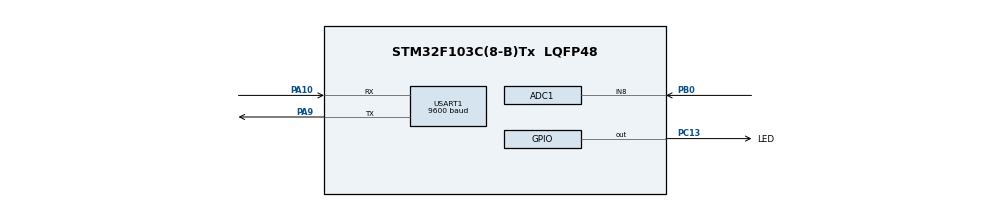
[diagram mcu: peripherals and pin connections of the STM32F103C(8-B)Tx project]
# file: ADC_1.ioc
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ADC1.Channel-3\#ChannelRegularConversion=ADC_CHANNEL_8
ADC1.NbrOfConversionFlag=1
ADC1.Rank-3\#ChannelRegularConversion=1
ADC1.SamplingTime-3\#ChannelRegularConversion=ADC_SAMPLETIME_1CYCLE_5
ADC1.master=1
Mcu.Family=STM32F1
Mcu.Name=STM32F103C(8-B)Tx
Mcu.Package=LQFP48
NVIC.PriorityGroup=NVIC_PRIORITYGROUP_4
PA10.Mode=Asynchronous
PA10.Signal=USART1_RX
PA13.Mode=Serial_Wire
PA13.Signal=SYS_JTMS-SWDIO
PA14.Mode=Serial_Wire
PA14.Signal=SYS_JTCK-SWCLK
PA9.Mode=Asynchronous
PA9.Signal=USART1_TX
PB0.Signal=ADCx_IN8
PC13-TAMPER-RTC.GPIO_Label=LED
PC13-TAMPER-RTC.Signal=GPIO_Output
PD0-OSC_IN.Mode=HSE-External-Oscillator
PD0-OSC_IN.Signal=RCC_OSC_IN
PD1-OSC_OUT.Mode=HSE-External-Oscillator
PD1-OSC_OUT.Signal=RCC_OSC_OUT
ProjectManager.HeapSize=0x200
ProjectManager.StackSize=0x400
ProjectManager.TargetToolchain=STM32CubeIDE
RCC.APB1Freq_Value=8000000
RCC.APB2Freq_Value=8000000
SH.ADCx_IN8.0=ADC1_IN8,IN8
USART1.BaudRate=9600
USART1.VirtualMode=VM_ASYNC
board=custom

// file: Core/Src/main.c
/* USER CODE BEGIN Header */
/**
  ******************************************************************************
  * @file           : main.c
  * @brief          : Main program body
  ******************************************************************************
  * @attention
  *
  * Copyright (c) 2023 STMicroelectronics.
  * All rights reserved.
  *
  * This software is licensed under terms that can be found in the LICENSE file
  * in the root directory of this software component.
  * If no LICENSE file comes with this software, it is provided AS-IS.
  *
  ******************************************************************************
  */
/* USER CODE END Header */
#include "main.h"

ADC_HandleTypeDef hadc1;

UART_HandleTypeDef huart1;

void SystemClock_Config(void);
static void MX_GPIO_Init(void);
static void MX_ADC1_Init(void);
static void MX_USART1_UART_Init(void);
/* USER CODE BEGIN PFP */
void empty_message(uint8_t array[], uint8_t size);
/* USER CODE END PFP */

int main(void)
{
  /* USER CODE BEGIN 1 */
	uint8_t welcome[] = "ADC program starting on PB0\r\n";
	uint16_t adcReading;
	uint8_t displayMessage[32];
	//uint8_t *pMessage = &displayMessage;

  /* USER CODE END 1 */

  /* MCU Configuration--------------------------------------------------------*/

  /* Reset of all peripherals, Initializes the Flash interface and the Systick. */
  HAL_Init();

  /* Configure the system clock */
  SystemClock_Config();

  /* Initialize all configured peripherals */
  MX_GPIO_Init();
  MX_ADC1_Init();
  MX_USART1_UART_Init();
  /* USER CODE BEGIN 2 */

  HAL_UART_Transmit(&huart1, welcome, sizeof(welcome), 100);

  /* USER CODE END 2 */

  /* Infinite loop */
  /* USER CODE BEGIN WHILE */
  while (1)
  {
	  HAL_ADC_Start(&hadc1);
	  HAL_ADC_PollForConversion(&hadc1, 100);
	  adcReading = (uint16_t) HAL_ADC_GetValue(&hadc1);
	  empty_message(displayMessage, sizeof(displayMessage));
	  sprintf(displayMessage,"%d\r\n", adcReading);
	  HAL_UART_Transmit(&huart1, (uint8_t *) displayMessage, sizeof(displayMessage), 100);
	  HAL_Delay(1000);

    /* USER CODE END WHILE */

  }
}

void SystemClock_Config(void)
{
  RCC_OscInitTypeDef RCC_OscInitStruct = {0};
  RCC_ClkInitTypeDef RCC_ClkInitStruct = {0};
  RCC_PeriphCLKInitTypeDef PeriphClkInit = {0};

  /** Initializes the RCC Oscillators according to the specified parameters
  * in the RCC_OscInitTypeDef structure.
  */
  RCC_OscInitStruct.OscillatorType = RCC_OSCILLATORTYPE_HSI;
  RCC_OscInitStruct.HSIState = RCC_HSI_ON;
  RCC_OscInitStruct.HSICalibrationValue = RCC_HSICALIBRATION_DEFAULT;
  RCC_OscInitStruct.PLL.PLLState = RCC_PLL_NONE;
  if (HAL_RCC_OscConfig(&RCC_OscInitStruct) != HAL_OK)
  {
    Error_Handler();
  }

  /** Initializes the CPU, AHB and APB buses clocks
  */
  RCC_ClkInitStruct.ClockType = RCC_CLOCKTYPE_HCLK|RCC_CLOCKTYPE_SYSCLK
                              |RCC_CLOCKTYPE_PCLK1|RCC_CLOCKTYPE_PCLK2;
  RCC_ClkInitStruct.SYSCLKSource = RCC_SYSCLKSOURCE_HSI;
  RCC_ClkInitStruct.AHBCLKDivider = RCC_SYSCLK_DIV1;
  RCC_ClkInitStruct.APB1CLKDivider = RCC_HCLK_DIV1;
  RCC_ClkInitStruct.APB2CLKDivider = RCC_HCLK_DIV1;

  if (HAL_RCC_ClockConfig(&RCC_ClkInitStruct, FLASH_LATENCY_0) != HAL_OK)
  {
    Error_Handler();
  }
  PeriphClkInit.PeriphClockSelection = RCC_PERIPHCLK_ADC;
  PeriphClkInit.AdcClockSelection = RCC_ADCPCLK2_DIV2;
  if (HAL_RCCEx_PeriphCLKConfig(&PeriphClkInit) != HAL_OK)
  {
    Error_Handler();
  }
}

static void MX_ADC1_Init(void)
{

  ADC_ChannelConfTypeDef sConfig = {0};

  /** Common config
  */
  hadc1.Instance = ADC1;
  hadc1.Init.ScanConvMode = ADC_SCAN_DISABLE;
  hadc1.Init.ContinuousConvMode = DISABLE;
  hadc1.Init.DiscontinuousConvMode = DISABLE;
  hadc1.Init.ExternalTrigConv = ADC_SOFTWARE_START;
  hadc1.Init.DataAlign = ADC_DATAALIGN_RIGHT;
  hadc1.Init.NbrOfConversion = 1;
  if (HAL_ADC_Init(&hadc1) != HAL_OK)
  {
    Error_Handler();
  }

  /** Configure Regular Channel
  */
  sConfig.Channel = ADC_CHANNEL_8;
  sConfig.Rank = ADC_REGULAR_RANK_1;
  sConfig.SamplingTime = ADC_SAMPLETIME_1CYCLE_5;
  if (HAL_ADC_ConfigChannel(&hadc1, &sConfig) != HAL_OK)
  {
    Error_Handler();
  }

}

static void MX_USART1_UART_Init(void)
{

  huart1.Instance = USART1;
  huart1.Init.BaudRate = 9600;
  huart1.Init.WordLength = UART_WORDLENGTH_8B;
  huart1.Init.StopBits = UART_STOPBITS_1;
  huart1.Init.Parity = UART_PARITY_NONE;
  huart1.Init.Mode = UART_MODE_TX_RX;
  huart1.Init.HwFlowCtl = UART_HWCONTROL_NONE;
  huart1.Init.OverSampling = UART_OVERSAMPLING_16;
  if (HAL_UART_Init(&huart1) != HAL_OK)
  {
    Error_Handler();
  }

}

static void MX_GPIO_Init(void)
{
  GPIO_InitTypeDef GPIO_InitStruct = {0};

  /* GPIO Ports Clock Enable */
  __HAL_RCC_GPIOC_CLK_ENABLE();
  __HAL_RCC_GPIOD_CLK_ENABLE();
  __HAL_RCC_GPIOB_CLK_ENABLE();
  __HAL_RCC_GPIOA_CLK_ENABLE();

  /*Configure GPIO pin Output Level */
  HAL_GPIO_WritePin(LED_GPIO_Port, LED_Pin, GPIO_PIN_RESET);

  /*Configure GPIO pin : LED_Pin */
  GPIO_InitStruct.Pin = LED_Pin;
  GPIO_InitStruct.Mode = GPIO_MODE_OUTPUT_PP;
  GPIO_InitStruct.Pull = GPIO_NOPULL;
  GPIO_InitStruct.Speed = GPIO_SPEED_FREQ_LOW;
  HAL_GPIO_Init(LED_GPIO_Port, &GPIO_InitStruct);

}

/* USER CODE BEGIN 4 */
void empty_message(uint8_t array[], uint8_t size){
	for(uint8_t i = 0 ; i < size; i++){
		array[i] = '\0';
	}
}

/* USER CODE END 4 */

void Error_Handler(void)
{
  __disable_irq();
  while (1)
  {
  }
}
